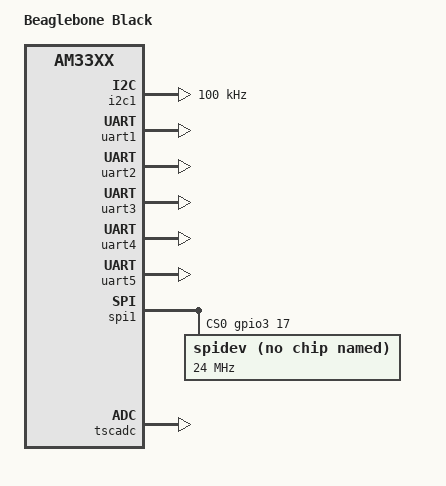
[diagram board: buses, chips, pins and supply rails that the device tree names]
/*
 * Copyright (C) 2017 Kubos Corporation
 *
 * Licensed under the Apache License, Version 2.0 (the "License");
 * you may not use this file except in compliance with the License.
 * You may obtain a copy of the License at
 *
 *     http://www.apache.org/licenses/LICENSE-2.0
 *
 * Unless required by applicable law or agreed to in writing, software
 * distributed under the License is distributed on an "AS IS" BASIS,
 * WITHOUT WARRANTIES OR CONDITIONS OF ANY KIND, either express or implied.
 * See the License for the specific language governing permissions and
 * limitations under the License.
 */
/dts-v1/;

#include "am33xx-boneblack.dtsi"

/ {
	model = "Beaglebone Black";
	compatible = "kubos,bbb", "ti,am335x-bone-black", "ti,am335x-bone", "ti,am33xx";

};

&am33xx_pinmux {

	uart1_pins: pinmux_uart1_pins {
		pinctrl-single,pins = <
			0x184 (PIN_OUTPUT | MUX_MODE0)	/* TX  - P9.24 */
			0x180 (PIN_INPUT  | MUX_MODE0)	/* RX  - P9.26 */
			/* RTS/CTS conflicts with I2C2 */
		>;
	};

	uart2_pins: pinmux_uart2_pins {
		pinctrl-single,pins = <
			0x154 (PIN_OUTPUT | MUX_MODE1)	/* TX  - P9.21 */
			0x150 (PIN_INPUT  | MUX_MODE1)	/* RX  - P9.22 */
		>;
	};

	uart3_pins: pinmux_uart3_pins {
		pinctrl-single,pins = <
			0x164 (PIN_OUTPUT | MUX_MODE1)	/* TX  - P9.42 */
			0x0cc (PIN_OUTPUT | MUX_MODE6)	/* RTS - P8.34 */
			0x0c8 (PIN_INPUT  | MUX_MODE6)	/* CTS - P8.36 */
		>;
	};

	uart4_pins: pinmux_uart4_pins {
		pinctrl-single,pins = <
			0x074 (PIN_OUTPUT | MUX_MODE6)	/* TX  - P9.13 */
			0x070 (PIN_INPUT  | MUX_MODE6)	/* RX  - P9.11 */
			0x0d4 (PIN_OUTPUT | MUX_MODE6)	/* RTS - P8.33 */
			0x0d0 (PIN_INPUT  | MUX_MODE6)	/* CTS - P8.35 */
		>;
	};

	uart5_pins: pinmux_uart5_pins {
		pinctrl-single,pins = <
			0x0c0 (PIN_OUTPUT | MUX_MODE4)	/* TX  - P8.37 */
			0x0c4 (PIN_INPUT  | MUX_MODE4)	/* RX  - P8.38 */
			0x0dc (PIN_OUTPUT | MUX_MODE6)	/* RTS - P8.32 */
			0x0d8 (PIN_INPUT  | MUX_MODE6)	/* CTS - P8.31 */
		>;
	};


	i2c1_pins: pinmux_i2c1_pins {
		pinctrl-single,pins = <
			0x158 (PIN_INPUT_PULLUP | MUX_MODE2)	/* SDA - P9.18 */
			0x15c (PIN_INPUT_PULLUP | MUX_MODE2)	/* SCL - P9.17 */
		>;
	};

	spi1_pins: pinmux_spi1_pins {
		pinctrl-single,pins = <
			0x190 (PIN_INPUT_PULLUP  | MUX_MODE3)	/* SCLK - P9.31 */
			0x194 (PIN_INPUT_PULLUP  | MUX_MODE3)	/* MISO - P9.29 */
			0x198 (PIN_OUTPUT_PULLUP | MUX_MODE3)	/* MOSI - P9.30 */
			0x19c (PIN_OUTPUT_PULLUP | MUX_MODE3)	/* CS0  - P9.28 */
		>;
	};

};

&i2c1 {
	pinctrl-names = "default";
	pinctrl-0 = <&i2c1_pins>;
	clock-frequency = <100000>;

	status = "okay";
};

&uart1 {
	pinctrl-names = "default";
	pinctrl-0 = <&uart1_pins>;
	status = "okay";
};

&uart2 {
	pinctrl-names = "default";
	pinctrl-0 = <&uart2_pins>;
	status = "okay";
};

&uart3 {
	pinctrl-names = "default";
	pinctrl-0 = <&uart3_pins>;
	status = "okay";
};

&uart4 {
	pinctrl-names = "default";
	pinctrl-0 = <&uart4_pins>;
	status = "okay";
};

&uart5 {
	pinctrl-names = "default";
	pinctrl-0 = <&uart5_pins>;
	status = "okay";
};

&spi1 {
	pinctrl-names = "default";
	pinctrl-0 = <&spi1_pins>;
        ti,spi-num-cs = <1>;
        cs-gpios = <&gpio3 17 0>, <&gpio0 7 0>;

	status = "okay";

        spidev@0 {
		spi-max-frequency = <24000000>;
		reg = <0>;
		compatible = "spidev";
        };
};

&tscadc {
	status = "okay";
	adc {
		ti,adc-channels = <0 1 2 3 4 5 6>;
		ti,chan-step-avg = <0x16 0x16 0x16 0x16 0x16 0x16 0x16>;
		ti,chan-step-opendelay = <0x98 0x98 0x98 0x98 0x98 0x98 0x98>;
		ti,chan-step-sampledelay = <0x0 0x0 0x0 0x0 0x0 0x0 0x0>;
	};
};


